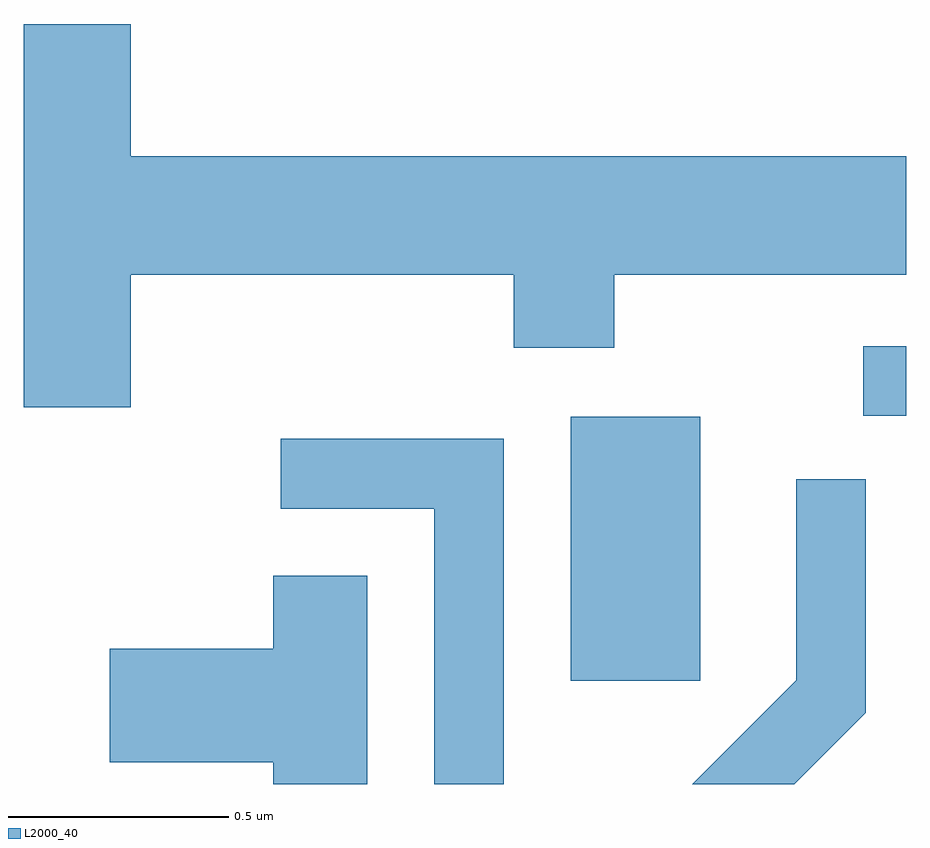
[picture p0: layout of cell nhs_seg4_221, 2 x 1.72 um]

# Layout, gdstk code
import gdstk
lib = gdstk.Library(unit=1e-6, precision=1e-09)
def R(c, l, rs):  # rectangles x0, y0, x1, y1
    for r in rs: c.add(gdstk.rectangle(r[:2], r[2:], *l))
def P(c, l, *ps):  # polygons
    for p in ps: c.add(gdstk.Polygon(p, *l))
L2000_40 = (2000, 40)

nhs_seg4_221 = lib.new_cell('nhs_seg4_221')
R(nhs_seg4_221, L2000_40, [(187.851,1338.216,188.144,1338.814), (188.513,1338.816,188.611,1338.974)])
P(nhs_seg4_221, L2000_40, [(186.854,1339.136),(187.721,1339.136),(187.721,1338.971),(187.949,1338.971),(187.949,1339.136),(188.611,1339.136),(188.611,1339.404),(186.854,1339.404),(186.854,1339.704),(186.611,1339.704),(186.611,1338.836),(186.854,1338.836)],
  [(187.699,1338.764),(187.193,1338.764),(187.193,1338.606),(187.541,1338.606),(187.541,1337.982),(187.699,1337.982)],
  [(188.519,1338.144),(188.519,1338.673),(188.361,1338.673),(188.361,1338.217),(188.126,1337.982),(188.357,1337.982)],
  [(187.389,1338.454),(187.176,1338.454),(187.176,1338.289),(186.806,1338.289),(186.806,1338.031),(187.176,1338.031),(187.176,1337.982),(187.389,1337.982)])

lib.write_gds('nhs_seg4_221.gds')
